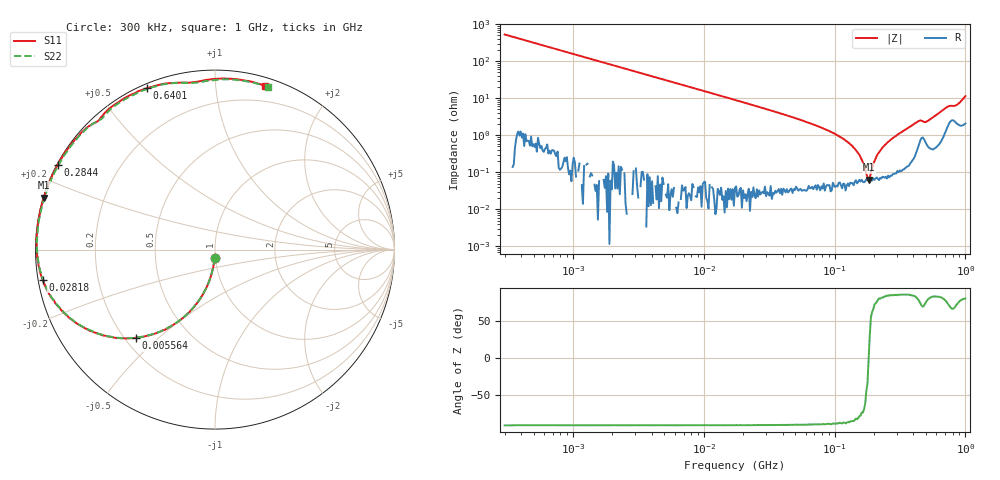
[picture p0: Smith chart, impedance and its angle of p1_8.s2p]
#  HZ  S  RI  R  50
! Rohde & Schwarz ZVA/B
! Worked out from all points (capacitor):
!   401 points, 300 kHz to 1 GHz, reference 50 ohm
!   read as one part in shunt: C = 1.01 nF near 312.4 kHz
!   lowest |Z| = 63.2 mohm at 182.1 MHz (marker M1)
!   series resonance near 182.1 MHz, so ESL is about 760 pH
!   S11 on the Smith chart (normalised r, x): 300 kHz: 0.99, -0.09; 5.564 MHz: 0.24, -0.42; 28.18 MHz: 0.01, -0.09; 284.4 MHz: 0.00, +0.25; 640.1 MHz: 0.02, +0.66; 1 GHz: 0.06, +1.35
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300000  -0.00192 -0.0471  0.9975 -0.048  0.998 -0.0481  -0.00203 -0.0464
1167356  -0.033 -0.1781  0.9665 -0.1802  0.9672 -0.1806  -0.0338 -0.178
2472121  -0.1344 -0.3378  0.8655 -0.3417  0.8663 -0.3426  -0.1336 -0.3381
4542403  -0.3436 -0.4711  0.6571 -0.4794  0.6556 -0.4783  -0.3437 -0.4704
5563622  -0.4401 -0.4911  0.5594 -0.501  0.5587 -0.5002  -0.4409 -0.4913
8691924  -0.6619 -0.4654  0.3393 -0.4812  0.3383 -0.4797  -0.6598 -0.4642
1.732051e7  -0.8919 -0.2951  0.1076 -0.3223  0.1069 -0.3223  -0.8907 -0.2918
2.81795e7  -0.9606 -0.1669  0.0372 -0.2106  0.0368 -0.2106  -0.9606 -0.1616
6.739735e7  -0.9924 0.0284  -0.00088 -0.0803  -0.000687 -0.0803  -0.992 0.0337
1.031796e8  -0.9869 0.1239  -0.00351 -0.041  -0.00349 -0.0405  -0.9865 0.1298
1.370549e8  -0.9761 0.1993  -0.00206 -0.0199  -0.00217 -0.0196  -0.9718 0.2066
1.579593e8  -0.9677 0.241  -0.000238 -0.00996  -0.000165 -0.00985  -0.9623 0.25
1.74816e8  -0.9584 0.2745  0.00175 -0.00311  0.00126 -0.00283  -0.9523 0.2829
1.82052e8  -0.9533 0.2897  0.00235 -0.000737  0.00222 -0.000395  -0.9478 0.2974
1.895876e8  -0.9497 0.3018  0.0032 0.00234  0.00329 0.00194  -0.9416 0.3116
2.141179e8  -0.9336 0.3467  0.00661 0.0102  0.00662 0.0102  -0.9272 0.3575
2.622557e8  -0.8972 0.4331  0.0141 0.0225  0.0143 0.0224  -0.8866 0.443
2.844158e8  -0.8775 0.4707  0.0187 0.0274  0.019 0.0272  -0.866 0.4812
4.266755e8  -0.7066 0.685  0.062 0.0447  0.0624 0.0449  -0.6887 0.6952
5.121091e8  -0.6013 0.7747  0.0687 0.0322  0.0684 0.0324  -0.5793 0.785
6.400909e8  -0.3789 0.8993  0.1097 0.0283  0.1097 0.0277  -0.3568 0.903
1e9  0.2796 0.9133  0.1367 -0.0642  0.1373 -0.0642  0.2944 0.9065
